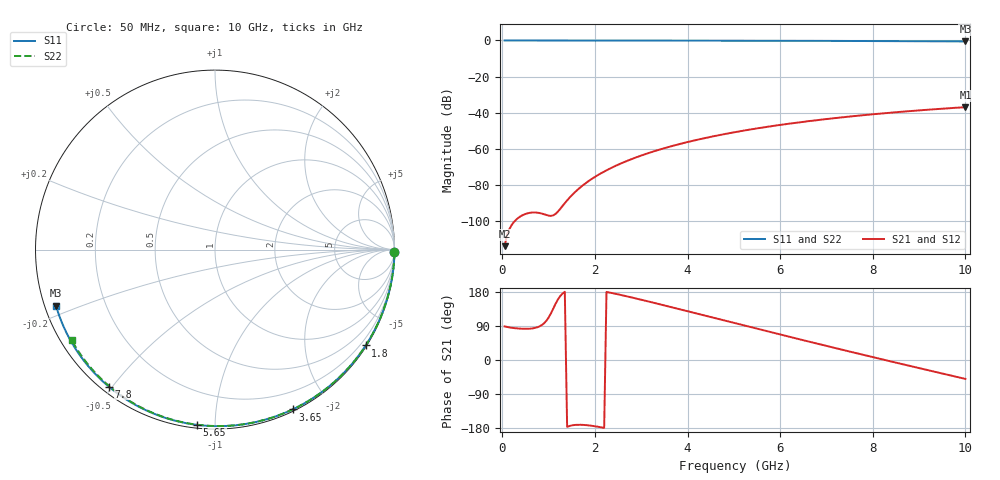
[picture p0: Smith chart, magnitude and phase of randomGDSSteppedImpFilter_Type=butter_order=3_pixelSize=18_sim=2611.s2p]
! freq	dB(S11)	phase(S11)	dB(S12)	phase(S12)
!  dB(S21)	phase(S21)	dB(S22)	phase(S22)
!S-par simulation data
#  GHz  S  DB  R 50
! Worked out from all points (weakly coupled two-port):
!   200 points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, 50 MHz to 10 GHz, reference 50 ohm
!   highest |S21| = -36.90 dB at 10 GHz (marker M1); lowest = -113.8 dB at 50 MHz (marker M2)
!   lowest |S11| = -0.5 dB at 10 GHz (marker M3), VSWR 32.05, Z = 1.61 - j8.56 ohm
!   |S11| at or under -10 dB: nowhere
!   |S22| runs from -0.5 to 0.0 dB; largest |S21 - S12| = 0
!   S11 on the Smith chart (normalised r, x): 50 MHz: open; 1.8 GHz: 0.03, -3.43; 3.65 GHz: 0.02, -1.60; 5.65 GHz: 0.02, -0.90; 7.8 GHz: 0.02, -0.49; 10 GHz: 0.03, -0.17
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0.05  -0.00 -0.9  -113.78 88.6  -113.78 88.6  -0.00 -0.9
0.45  -0.01 -8.2  -96.49 82.4  -96.49 82.4  -0.01 -7.7
0.9  -0.02 -16.4  -96.11 96.7  -96.11 96.7  -0.02 -15.4
1.75  -0.04 -31.6  -79.92 -171.3  -79.92 -171.3  -0.04 -29.6
1.8  -0.04 -32.5  -78.95 -171.7  -78.95 -171.7  -0.04 -30.5
1.95  -0.04 -35.1  -76.29 -173.9  -76.29 -173.9  -0.04 -32.9
2.1  -0.05 -37.7  -73.93 -176.9  -73.93 -176.9  -0.04 -35.4
2.3  -0.05 -41.2  -71.17 178.5  -71.17 178.5  -0.05 -38.7
2.5  -0.06 -44.7  -68.73 173.3  -68.73 173.3  -0.05 -41.9
2.9  -0.07 -51.5  -64.56 162.0  -64.56 162.0  -0.06 -48.3
3.4  -0.08 -60.0  -60.32 147.1  -60.32 147.1  -0.07 -56.2
3.65  -0.09 -64.1  -58.49 139.5  -58.49 139.5  -0.08 -60.1
4.3  -0.11 -74.7  -54.41 119.5  -54.41 119.5  -0.10 -70.0
5.05  -0.13 -86.6  -50.59 96.4  -50.59 96.4  -0.12 -81.1
5.65  -0.16 -95.8  -48.04 78.0  -48.04 78.0  -0.15 -89.8
6.15  -0.19 -103.4  -46.18 62.7  -46.18 62.7  -0.17 -96.8
6.7  -0.22 -111.6  -44.37 46.1  -44.37 46.1  -0.20 -104.3
7.25  -0.26 -119.7  -42.76 29.7  -42.76 29.7  -0.24 -111.8
7.8  -0.30 -127.8  -41.32 13.5  -41.32 13.5  -0.28 -119.1
8.35  -0.35 -135.9  -40.03 -2.6  -40.03 -2.6  -0.32 -126.3
9.2  -0.44 -148.4  -38.29 -27.1  -38.29 -27.1  -0.41 -137.3
10  -0.54 -160.6  -36.90 -49.9  -36.90 -49.9  -0.50 -147.8
